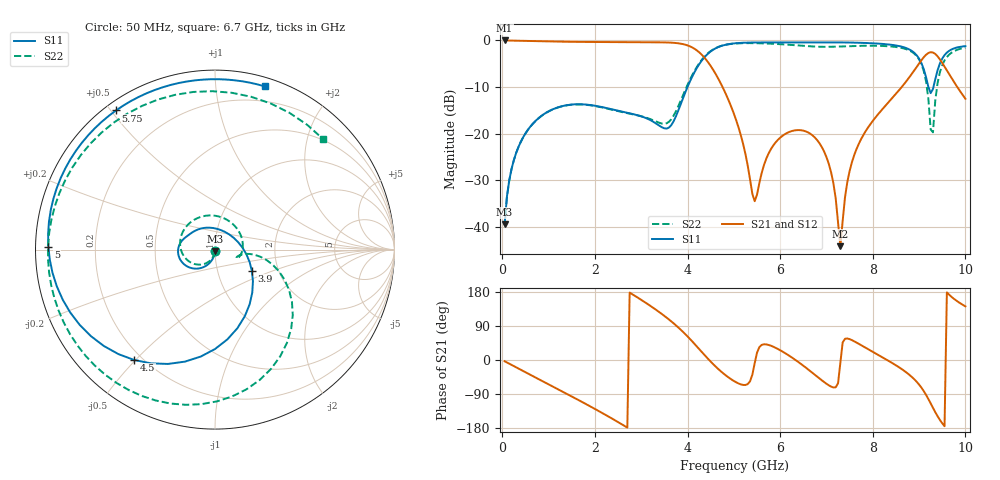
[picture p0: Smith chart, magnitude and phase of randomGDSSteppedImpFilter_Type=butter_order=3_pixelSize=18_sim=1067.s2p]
! freq	dB(S11)	phase(S11)	dB(S12)	phase(S12)
!  dB(S21)	phase(S21)	dB(S22)	phase(S22)
!S-par simulation data
#  GHz  S  DB  R 50
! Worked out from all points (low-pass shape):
!   200 points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, 50 MHz to 10 GHz, reference 50 ohm
!   highest |S21| = -0.01 dB at 50 MHz (marker M1); lowest = -44.2 dB at 7.3 GHz (marker M2)
!   |S21| within 3 dB of the highest: start of sweep to 4.301 GHz; 9.16 GHz to 9.36 GHz (199.8 MHz wide, 2.16 % of centre)
!   lowest |S11| = -39.5 dB at 50 MHz (marker M3), VSWR 1.02, Z = 50 - j1.06 ohm
!   |S11| at or under -10 dB: start of sweep to 4 GHz; 9.201 GHz to 9.31 GHz (109.2 MHz wide, 1.18 % of centre)
!   |S22| runs from -39.5 to -0.6 dB; largest |S21 - S12| = 0
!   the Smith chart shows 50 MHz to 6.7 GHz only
!   S11 on the Smith chart (normalised r, x): 50 MHz: 1.00, -0.02; 3.9 GHz: 1.46, -0.37; 4.5 GHz: 0.17, -0.50; 5 GHz: 0.04, +0.01; 5.75 GHz: 0.03, +0.52; 6.7 GHz: 0.07, +1.35
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0.05  -39.52 -91.2  -0.01 -3.3  -0.01 -3.3  -39.54 -92.1
0.2  -27.60 -101.1  -0.03 -13.0  -0.03 -13.0  -27.63 -104.6
0.5  -19.98 -118.1  -0.09 -32.3  -0.09 -32.3  -20.01 -127.0
1.75  -13.74 -179.6  -0.33 -112.5  -0.33 -112.5  -13.79 133.5
2.65  -15.44 151.6  -0.35 -174.7  -0.35 -174.7  -15.52 38.5
3.4  -18.38 94.7  -0.41 125.5  -0.41 125.5  -17.73 -22.3
3.9  -12.47 -30.2  -0.79 74.5  -0.79 74.5  -11.81 -9.0
4.5  -2.36 -126.2  -5.49 -4.3  -5.49 -4.3  -2.29 -71.2
5  -0.64 179.0  -15.73 -55.4  -15.73 -55.4  -0.69 -126.4
5.05  -0.60 174.7  -17.13 -58.8  -17.13 -58.8  -0.65 -131.3
5.45  -0.44 144.6  -34.55 -8.6  -34.55 -8.6  -0.59 -167.7
5.75  -0.43 125.4  -24.29 39.8  -24.29 39.8  -0.68 164.8
6.3  -0.45 94.2  -19.36 2.7  -19.36 2.7  -1.01 104.4
6.7  -0.44 73.0  -20.41 -34.2  -20.41 -34.2  -1.30 45.5
7.1  -0.42 52.3  -28.34 -70.2  -28.34 -70.2  -1.37 -21.1
7.3  -0.43 42.0  -44.21 -7.5  -44.21 -7.5  -1.31 -51.9
7.6  -0.47 26.6  -24.63 49.3  -24.63 49.3  -1.20 -91.2
8.35  -0.88 -12.6  -13.18 -2.9  -13.18 -2.9  -1.26 -163.5
9  -3.91 -56.6  -4.96 -64.9  -4.96 -64.9  -4.08 130.3
9.3  -10.44 -18.6  -2.60 -126.2  -2.60 -126.2  -19.75 -166.5
9.5  -3.90 -14.3  -4.84 -167.0  -4.84 -167.0  -5.32 -167.9
10  -1.23 -51.5  -12.54 141.5  -12.54 141.5  -1.55 139.3
